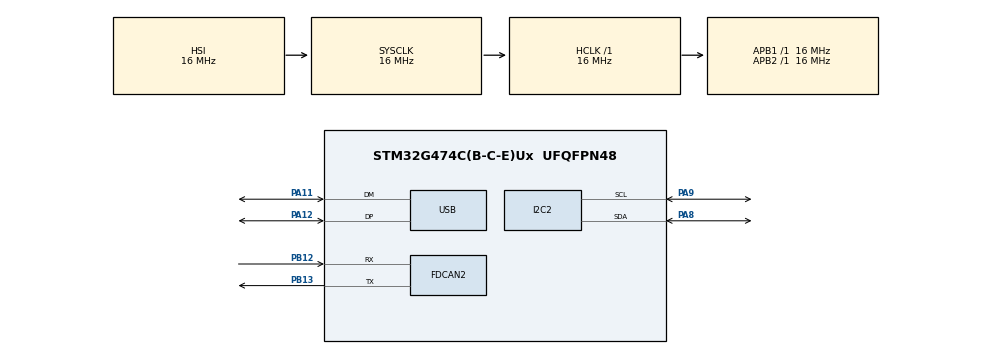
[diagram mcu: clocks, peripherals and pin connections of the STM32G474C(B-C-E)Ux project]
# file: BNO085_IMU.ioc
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FDCAN2.CalculateBaudRateNominal=250000
FDCAN2.CalculateTimeBitNominal=4000
FDCAN2.CalculateTimeQuantumNominal=250.0
FDCAN2.NominalPrescaler=4
FDCAN2.NominalTimeSeg1=13
FDCAN2.NominalTimeSeg2=2
I2C2.Timing=0x00503D58
Mcu.Family=STM32G4
Mcu.Name=STM32G474C(B-C-E)Ux
Mcu.Package=UFQFPN48
NVIC.FDCAN2_IT0_IRQn=true\:0\:0\:false\:false\:true\:true\:true\:true
NVIC.PriorityGroup=NVIC_PRIORITYGROUP_4
NVIC.USB_LP_IRQn=true\:0\:0\:false\:false\:true\:false\:true\:true
PA11.Mode=Device
PA11.Signal=USB_DM
PA12.Mode=Device
PA12.Signal=USB_DP
PA8.Mode=I2C
PA8.Signal=I2C2_SDA
PA9.Mode=I2C
PA9.Signal=I2C2_SCL
PB12.Mode=FDCAN_Activate
PB12.Signal=FDCAN2_RX
PB13.Mode=FDCAN_Activate
PB13.Signal=FDCAN2_TX
ProjectManager.HeapSize=0x200
ProjectManager.StackSize=0x400
ProjectManager.TargetToolchain=STM32CubeIDE
RCC.AHBFreq_Value=16000000
RCC.APB1Freq_Value=16000000
RCC.APB1TimFreq_Value=16000000
RCC.APB2Freq_Value=16000000
RCC.APB2TimFreq_Value=16000000
RCC.CortexFreq_Value=16000000
RCC.EXTERNAL_CLOCK_VALUE=12288000
RCC.HCLKFreq_Value=16000000
RCC.HSE_VALUE=8000000
RCC.HSI48_VALUE=48000000
RCC.HSI_VALUE=16000000
RCC.LSE_VALUE=32768
RCC.PLLN=12
RCC.PLLQ=RCC_PLLQ_DIV4
RCC.SYSCLKFreq_VALUE=16000000
RCC.USBFreq_Value=48000000
RCC.VCOOutputFreq_Value=192000000
USB_DEVICE.CLASS_NAME_FS=CDC
USB_DEVICE.VirtualMode=Cdc
USB_DEVICE.VirtualModeFS=Cdc_FS
VP_SYS_VS_DBSignals.Mode=DisableDeadBatterySignals
VP_USB_DEVICE_VS_USB_DEVICE_CDC_FS.Mode=CDC_FS
board=custom

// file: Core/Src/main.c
/* USER CODE BEGIN Header */
/**
 ******************************************************************************
 * @file           : main.c
 * @brief          : BNO085 Gyro diagnostic — verbose I2C + packet logging
 *                   Stage 1: CAN TX heartbeat alongside gyro data
 ******************************************************************************
 */
/* USER CODE END Header */
#include "main.h"
#include "usb_device.h"

/* USER CODE BEGIN Includes */
#include "usbd_cdc_if.h"
#include <string.h>
#include <stdio.h>
#include <stdarg.h>
/* USER CODE END Includes */

/* USER CODE BEGIN PD */

#define BNO085_ADDR            (0x4A << 1)
#define SHTP_MAX               300
#define SHTP_HDR               4
#define I2C_TOUT               150

#define CH_EXEC   1
#define CH_CTRL   2
#define CH_INPUT  3

#define RPT_GYRO               0x02
#define RPT_SET_FEATURE        0xFD
#define RPT_GET_FEATURE_RESP   0xFC
#define RPT_BASE_TS            0xFB
#define RPT_TS_REBASE          0xFA
#define RPT_COMMAND_REQ        0xF2
#define RPT_FLUSH_COMPLETED    0xEF

#define PRINT_BUF              512

#define CAN_TX_ID              0x420

/* USER CODE END PD */

FDCAN_HandleTypeDef hfdcan2;

I2C_HandleTypeDef hi2c2;

/* USER CODE BEGIN PV */
static uint8_t rxBuf[SHTP_MAX];
static uint8_t txBuf[SHTP_MAX];
static uint8_t seqOut[6] = { 0 };
static char pBuf[PRINT_BUF];

static float lastX = 0, lastY = 0, lastZ = 0;
static uint32_t readOK = 0, readFail = 0, gyroCount = 0;

/* CAN TX stats */
static FDCAN_TxHeaderTypeDef canTxHeader;
static uint8_t canTxSeq = 0;
static uint32_t canTxPass = 0;
static uint32_t canTxFail = 0;
static uint8_t canFirstFailPrinted = 0;
/* USER CODE END PV */

void SystemClock_Config(void);
static void MX_GPIO_Init(void);
static void MX_I2C2_Init(void);
static void MX_FDCAN2_Init(void);
/* USER CODE BEGIN PFP */
static void CDC_Print(const char *fmt, ...);
static HAL_StatusTypeDef SHTP_Read(uint16_t *len, uint8_t *ch);
static HAL_StatusTypeDef SHTP_Write(uint8_t ch, const uint8_t *d, uint16_t n);
static void BNO_Boot(void);
static void BNO_EnableGyro(void);
static void BNO_SoftReset(void);
static void CAN_Init(void);
static void CAN_SendHeartbeat(void);
/* USER CODE END PFP */

/* USER CODE BEGIN 0 */

static void CDC_Print(const char *fmt, ...) {
	va_list a;
	va_start(a, fmt);
	int n = vsnprintf(pBuf, PRINT_BUF, fmt, a);
	va_end(a);
	if (n <= 0)
		return;
	uint32_t t0 = HAL_GetTick();
	while (CDC_Transmit_FS((uint8_t*) pBuf, (uint16_t) n) == USBD_BUSY)
		if (HAL_GetTick() - t0 > 50)
			break;
	HAL_Delay(2);
}

static const char* HalStr(HAL_StatusTypeDef s) {
	switch (s) {
	case HAL_OK:
		return "OK";
	case HAL_ERROR:
		return "ERR";
	case HAL_BUSY:
		return "BUSY";
	case HAL_TIMEOUT:
		return "TOUT";
	default:
		return "??";
	}
}

/* ---- CAN helpers ---- */

static void CAN_Init(void) {
	/* Configure TX header — reused for every send */
	canTxHeader.Identifier = CAN_TX_ID;
	canTxHeader.IdType = FDCAN_STANDARD_ID;
	canTxHeader.TxFrameType = FDCAN_DATA_FRAME;
	canTxHeader.DataLength = FDCAN_DLC_BYTES_8;
	canTxHeader.ErrorStateIndicator = FDCAN_ESI_ACTIVE;
	canTxHeader.BitRateSwitch = FDCAN_BRS_OFF;
	canTxHeader.FDFormat = FDCAN_CLASSIC_CAN;
	canTxHeader.TxEventFifoControl = FDCAN_NO_TX_EVENTS;
	canTxHeader.MessageMarker = 0;

	/* Start the FDCAN peripheral — moves from Init to Normal mode */
	HAL_StatusTypeDef st = HAL_FDCAN_Start(&hfdcan2);
	CDC_Print("FDCAN2 Start: %s\r\n", HalStr(st));
}

static void CAN_SendHeartbeat(void) {
	uint8_t payload[8];

	/* Pack raw Q9 gyro values as int16 little-endian */
	int16_t rawX = (int16_t) (lastX * 512.0f);
	int16_t rawY = (int16_t) (lastY * 512.0f);
	int16_t rawZ = (int16_t) (lastZ * 512.0f);

	payload[0] = (uint8_t) (rawX & 0xFF);
	payload[1] = (uint8_t) ((rawX >> 8) & 0xFF);
	payload[2] = (uint8_t) (rawY & 0xFF);
	payload[3] = (uint8_t) ((rawY >> 8) & 0xFF);
	payload[4] = (uint8_t) (rawZ & 0xFF);
	payload[5] = (uint8_t) ((rawZ >> 8) & 0xFF);
	payload[6] = canTxSeq;
	payload[7] = 0x00; /* reserved */

	HAL_StatusTypeDef st = HAL_FDCAN_AddMessageToTxFifoQ(&hfdcan2, &canTxHeader,
			payload);

	if (st == HAL_OK) {
		canTxPass++;
		canFirstFailPrinted = 0;
	} else {
		canTxFail++;

		if (!canFirstFailPrinted) {
			canFirstFailPrinted = 1;
			FDCAN_ProtocolStatusTypeDef psr;
			HAL_FDCAN_GetProtocolStatus(&hfdcan2, &psr);
			CDC_Print(
					"  CAN PSR: LEC=%lu DLEC=%lu ACT=%lu EP=%lu EW=%lu BO=%lu\r\n",
					(unsigned long) psr.LastErrorCode,
					(unsigned long) psr.DataLastErrorCode,
					(unsigned long) psr.Activity,
					(unsigned long) psr.ErrorPassive,
					(unsigned long) psr.Warning, (unsigned long) psr.BusOff);
		}
	}

	CDC_Print("CAN TX #%u: %s  (pass=%lu fail=%lu)\r\n", (unsigned) canTxSeq,
			HalStr(st), (unsigned long) canTxPass, (unsigned long) canTxFail);

	canTxSeq++;
}

/* ---- SHTP / BNO085 ---- */

static HAL_StatusTypeDef SHTP_Read(uint16_t *len, uint8_t *ch) {
	*len = 0;
	*ch = 0;
	HAL_StatusTypeDef st;
	st = HAL_I2C_Master_Receive(&hi2c2, BNO085_ADDR, rxBuf, 4, I2C_TOUT);
	if (st != HAL_OK)
		return st;

	uint16_t pktLen = (uint16_t) rxBuf[0] | ((uint16_t) (rxBuf[1] & 0x7F) << 8);
	if (pktLen == 0 || pktLen == 0x7FFF)
		return HAL_TIMEOUT;
	if (pktLen > SHTP_MAX)
		pktLen = SHTP_MAX;

	st = HAL_I2C_Master_Receive(&hi2c2, BNO085_ADDR, rxBuf, pktLen, I2C_TOUT);
	if (st != HAL_OK)
		return st;

	*len = (uint16_t) rxBuf[0] | ((uint16_t) (rxBuf[1] & 0x7F) << 8);
	*ch = rxBuf[2];
	return HAL_OK;
}

static HAL_StatusTypeDef SHTP_Write(uint8_t ch, const uint8_t *d, uint16_t n) {
	uint16_t total = SHTP_HDR + n;
	txBuf[0] = (uint8_t) (total & 0xFF);
	txBuf[1] = (uint8_t) ((total >> 8) & 0x7F);
	txBuf[2] = ch;
	txBuf[3] = seqOut[ch]++;
	if (n > 0)
		memcpy(&txBuf[4], d, n);
	return HAL_I2C_Master_Transmit(&hi2c2, BNO085_ADDR, txBuf, total, I2C_TOUT);
}

/* ---- SH-2 software reset via Initialize command (0x04) ---- */
static void BNO_SoftReset(void) {
	/* Command Request (0xF2), Seq=0, Command=0x04 (Initialize)
	 * Param 0 = 0x01 (reinitialize entire system)
	 * Rest = 0
	 */
	uint8_t cmd[12];
	memset(cmd, 0, sizeof(cmd));
	cmd[0] = RPT_COMMAND_REQ; /* Report ID */
	cmd[1] = 0; /* Sequence   */
	cmd[2] = 0x01; /* Command: report errors / reset */
	/* bytes 3-11 = 0 */

	SHTP_Write(CH_CTRL, cmd, 12);
	HAL_Delay(300);

	/* Drain post-reset packets */
	for (int i = 0; i < 20; i++) {
		uint16_t len;
		uint8_t ch;
		if (SHTP_Read(&len, &ch) != HAL_OK)
			HAL_Delay(30);
		else
			HAL_Delay(10);
	}
}

static void BNO_Boot(void) {
	HAL_Delay(300);
	for (int i = 0; i < 15; i++) {
		uint16_t len;
		uint8_t ch;
		if (SHTP_Read(&len, &ch) != HAL_OK)
			HAL_Delay(50);
		else
			HAL_Delay(20);
	}
}

static void BNO_EnableGyro(void) {
	uint8_t cmd[17] = { 0 };
	cmd[0] = RPT_SET_FEATURE;
	cmd[1] = RPT_GYRO;
	cmd[5] = 0x20;
	cmd[6] = 0x4E;
	HAL_StatusTypeDef st = SHTP_Write(CH_CTRL, cmd, 17);
	CDC_Print("EnableGyro TX: %s\r\n", HalStr(st));
	HAL_Delay(50);
	for (int i = 0; i < 5; i++) {
		uint16_t len;
		uint8_t ch;
		SHTP_Read(&len, &ch);
		HAL_Delay(10);
	}
}

static void PrintVal(char *dest, int maxLen, float v) {
	int vi = (int) (v * 1000);
	int va = vi < 0 ? -vi : vi;
	snprintf(dest, maxLen, "%c%d.%03d", v < 0 ? '-' : '+', va / 1000,
			va % 1000);
}

/* USER CODE END 0 */

int main(void) {

	/* MCU Configuration--------------------------------------------------------*/

	/* Reset of all peripherals, Initializes the Flash interface and the Systick. */
	HAL_Init();

	/* Configure the system clock */
	SystemClock_Config();

	/* Initialize all configured peripherals */
	MX_GPIO_Init();
	MX_I2C2_Init();
	MX_USB_Device_Init();
	MX_FDCAN2_Init();
	/* USER CODE BEGIN 2 */

	HAL_Delay(1500);

	CDC_Print("\r\n=== BNO085 Gyro Diagnostic + CAN TX ===\r\n");

	/* Start FDCAN and configure TX header */
	CAN_Init();

	/* Check I2C */
	HAL_StatusTypeDef rdy = HAL_I2C_IsDeviceReady(&hi2c2, BNO085_ADDR, 3, 100);
	CDC_Print("I2C device ready: %s\r\n", HalStr(rdy));

	BNO_Boot();
	BNO_EnableGyro();

	uint32_t lastPrint = 0;
	float prevX = 0, prevY = 0, prevZ = 0;
	uint32_t staleCount = 0;

	/* USER CODE END 2 */

	/* Infinite loop */
	while (1) {

		/* USER CODE BEGIN 3 */

		uint16_t pktLen = 0;
		uint8_t chan = 0;
		HAL_StatusTypeDef st = SHTP_Read(&pktLen, &chan);

		if (st == HAL_OK && pktLen > SHTP_HDR) {
			readOK++;

			if (chan == CH_INPUT) {
				uint16_t cargoLen = pktLen - SHTP_HDR;
				const uint8_t *c = &rxBuf[SHTP_HDR];
				uint16_t idx = 0;

				while (idx < cargoLen) {
					uint8_t id = c[idx];
					if (id == RPT_BASE_TS || id == RPT_TS_REBASE) {
						idx += 5;
					} else if (id == RPT_GYRO && idx + 10 <= cargoLen) {
						lastX = (float) (int16_t) ((uint16_t) c[idx + 4]
								| (uint16_t) c[idx + 5] << 8) / 512.0f;
						lastY = (float) (int16_t) ((uint16_t) c[idx + 6]
								| (uint16_t) c[idx + 7] << 8) / 512.0f;
						lastZ = (float) (int16_t) ((uint16_t) c[idx + 8]
								| (uint16_t) c[idx + 9] << 8) / 512.0f;
						gyroCount++;
						idx += 10;
					} else {
						idx++; /* skip unknown byte, keep parsing */
					}
				}
			}

			if (chan == CH_EXEC) {
				CDC_Print("!! Sensor reset detected on EXEC channel\r\n");
				HAL_Delay(100);
				BNO_EnableGyro();
			}
		} else if (st != HAL_OK && st != HAL_TIMEOUT) {
			readFail++;
		}

		/* Print once per second */
		uint32_t now = HAL_GetTick();
		if (now - lastPrint >= 1000) {
			lastPrint = now;

			char sx[12], sy[12], sz[12];
			PrintVal(sx, sizeof(sx), lastX);
			PrintVal(sy, sizeof(sy), lastY);
			PrintVal(sz, sizeof(sz), lastZ);

			CDC_Print(
					"X:%s  Y:%s  Z:%s  |  ok=%lu fail=%lu gyro=%lu  I2C=%s\r\n",
					sx, sy, sz, (unsigned long) readOK,
					(unsigned long) readFail, (unsigned long) gyroCount,
					hi2c2.State == HAL_I2C_STATE_READY ? "RDY" : "FLT");

			/* Send CAN heartbeat right after gyro line */
			CAN_SendHeartbeat();

			/* Stale detection */
			if (lastX == prevX && lastY == prevY && lastZ == prevZ)
				staleCount++;
			else
				staleCount = 0;

			prevX = lastX;
			prevY = lastY;
			prevZ = lastZ;

			if (staleCount >= 5) {
				CDC_Print("!! Stale for %lu sec — sending SH-2 soft reset\r\n",
						(unsigned long) staleCount);

				/* Full recovery: I2C re-init + SH-2 software reset */
				HAL_I2C_DeInit(&hi2c2);
				HAL_Delay(50);
				MX_I2C2_Init();

				rdy = HAL_I2C_IsDeviceReady(&hi2c2, BNO085_ADDR, 3, 100);
				CDC_Print("   I2C after re-init: %s\r\n", HalStr(rdy));

				BNO_SoftReset();
				CDC_Print("   Soft reset sent, re-enabling gyro\r\n");
				BNO_EnableGyro();

				/* Reset counters */
				readOK = 0;
				readFail = 0;
				gyroCount = 0;
				staleCount = 0;
			}
		}

		HAL_Delay(5);

		/* USER CODE END 3 */
	}
}

void SystemClock_Config(void) {
	RCC_OscInitTypeDef RCC_OscInitStruct = { 0 };
	RCC_ClkInitTypeDef RCC_ClkInitStruct = { 0 };

	/** Configure the main internal regulator output voltage
	 */
	HAL_PWREx_ControlVoltageScaling(PWR_REGULATOR_VOLTAGE_SCALE1);

	/** Initializes the RCC Oscillators according to the specified parameters
	 * in the RCC_OscInitTypeDef structure.
	 */
	RCC_OscInitStruct.OscillatorType = RCC_OSCILLATORTYPE_HSI;
	RCC_OscInitStruct.HSIState = RCC_HSI_ON;
	RCC_OscInitStruct.HSICalibrationValue = RCC_HSICALIBRATION_DEFAULT;
	RCC_OscInitStruct.PLL.PLLState = RCC_PLL_ON;
	RCC_OscInitStruct.PLL.PLLSource = RCC_PLLSOURCE_HSI;
	RCC_OscInitStruct.PLL.PLLM = RCC_PLLM_DIV1;
	RCC_OscInitStruct.PLL.PLLN = 12;
	RCC_OscInitStruct.PLL.PLLP = RCC_PLLP_DIV2;
	RCC_OscInitStruct.PLL.PLLQ = RCC_PLLQ_DIV4;
	RCC_OscInitStruct.PLL.PLLR = RCC_PLLR_DIV2;
	if (HAL_RCC_OscConfig(&RCC_OscInitStruct) != HAL_OK) {
		Error_Handler();
	}

	/** Initializes the CPU, AHB and APB buses clocks
	 */
	RCC_ClkInitStruct.ClockType = RCC_CLOCKTYPE_HCLK | RCC_CLOCKTYPE_SYSCLK
			| RCC_CLOCKTYPE_PCLK1 | RCC_CLOCKTYPE_PCLK2;
	RCC_ClkInitStruct.SYSCLKSource = RCC_SYSCLKSOURCE_HSI;
	RCC_ClkInitStruct.AHBCLKDivider = RCC_SYSCLK_DIV1;
	RCC_ClkInitStruct.APB1CLKDivider = RCC_HCLK_DIV1;
	RCC_ClkInitStruct.APB2CLKDivider = RCC_HCLK_DIV1;

	if (HAL_RCC_ClockConfig(&RCC_ClkInitStruct, FLASH_LATENCY_0) != HAL_OK) {
		Error_Handler();
	}
}

static void MX_FDCAN2_Init(void) {

	hfdcan2.Instance = FDCAN2;
	hfdcan2.Init.ClockDivider = FDCAN_CLOCK_DIV1;
	hfdcan2.Init.FrameFormat = FDCAN_FRAME_CLASSIC;
	hfdcan2.Init.Mode = FDCAN_MODE_NORMAL;
	hfdcan2.Init.AutoRetransmission = DISABLE;
	hfdcan2.Init.TransmitPause = DISABLE;
	hfdcan2.Init.ProtocolException = DISABLE;
	hfdcan2.Init.NominalPrescaler = 4;
	hfdcan2.Init.NominalSyncJumpWidth = 1;
	hfdcan2.Init.NominalTimeSeg1 = 13;
	hfdcan2.Init.NominalTimeSeg2 = 2;
	hfdcan2.Init.DataPrescaler = 1;
	hfdcan2.Init.DataSyncJumpWidth = 1;
	hfdcan2.Init.DataTimeSeg1 = 1;
	hfdcan2.Init.DataTimeSeg2 = 1;
	hfdcan2.Init.StdFiltersNbr = 0;
	hfdcan2.Init.ExtFiltersNbr = 0;
	hfdcan2.Init.TxFifoQueueMode = FDCAN_TX_FIFO_OPERATION;
	if (HAL_FDCAN_Init(&hfdcan2) != HAL_OK) {
		Error_Handler();
	}

}

static void MX_I2C2_Init(void) {

	hi2c2.Instance = I2C2;
	hi2c2.Init.Timing = 0x00503D58;
	hi2c2.Init.OwnAddress1 = 0;
	hi2c2.Init.AddressingMode = I2C_ADDRESSINGMODE_7BIT;
	hi2c2.Init.DualAddressMode = I2C_DUALADDRESS_DISABLE;
	hi2c2.Init.OwnAddress2 = 0;
	hi2c2.Init.OwnAddress2Masks = I2C_OA2_NOMASK;
	hi2c2.Init.GeneralCallMode = I2C_GENERALCALL_DISABLE;
	hi2c2.Init.NoStretchMode = I2C_NOSTRETCH_DISABLE;
	if (HAL_I2C_Init(&hi2c2) != HAL_OK) {
		Error_Handler();
	}

	/** Configure Analogue filter
	 */
	if (HAL_I2CEx_ConfigAnalogFilter(&hi2c2, I2C_ANALOGFILTER_ENABLE)
			!= HAL_OK) {
		Error_Handler();
	}

	/** Configure Digital filter
	 */
	if (HAL_I2CEx_ConfigDigitalFilter(&hi2c2, 0) != HAL_OK) {
		Error_Handler();
	}

}

static void MX_GPIO_Init(void) {

	/* GPIO Ports Clock Enable */
	__HAL_RCC_GPIOB_CLK_ENABLE();
	__HAL_RCC_GPIOA_CLK_ENABLE();

}

void Error_Handler(void) {
	__disable_irq();
	while (1) {
	}
}
